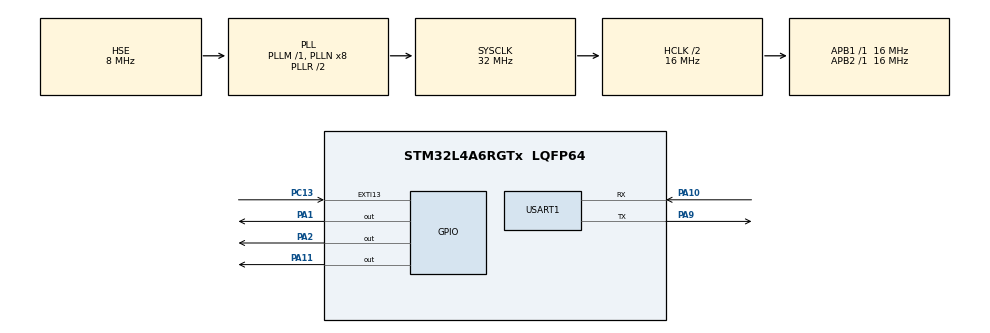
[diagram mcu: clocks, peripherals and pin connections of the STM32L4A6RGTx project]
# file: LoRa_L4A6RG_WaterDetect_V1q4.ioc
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PA11.GPIO_Speed=GPIO_SPEED_FREQ_HIGH
Mcu.Family=STM32L4
NVIC.FLASH_IRQn=true\:0\:0\:false\:false\:true\:true\:true
ADC1.LowPowerAutoWait=ENABLE
RCC.CortexFreq_Value=16000000
ADC1.ContinuousConvMode=DISABLE
PH0-OSC_IN\ (PH0).Signal=RCC_OSC_IN
PA10.GPIO_PuPd=GPIO_NOPULL
VP_IWDG_VS_IWDG.Mode=IWDG_Activate
VP_RTC_VS_RTC_Activate.Mode=RTC_Enabled
PA11.GPIO_PuPd=GPIO_PULLUP
RCC.SYSCLKSource=RCC_SYSCLKSOURCE_PLLCLK
ProjectManager.StackSize=0x400
SYS.Mode=PWR_PVD_MODE_IT_RISING_FALLING
ADC1.Channel-3\#ChannelRegularConversion=ADC_CHANNEL_VREFINT
RCC.HCLKFreq_Value=16000000
RCC.APB2TimFreq_Value=16000000
RCC.AHBFreq_Value=16000000
ADC1.Channel-0\#ChannelRegularConversion=ADC_CHANNEL_VBAT
PH1-OSC_OUT\ (PH1).Mode=HSE-External-Oscillator
RCC.HSE_VALUE=8000000
VP_ADC1_Vref_Input.Mode=IN-Vrefint
NVIC.TIM2_IRQn=true\:0\:0\:false\:false\:true\:true\:true
PC13.GPIO_PuPd=GPIO_NOPULL
ADC1.SamplingTime-0\#ChannelRegularConversion=ADC_SAMPLETIME_92CYCLES_5
Mcu.Package=LQFP64
TIM2.Prescaler=1600-1
ADC1.OversamplingMode=DISABLE
IWDG.Reload=4000
PA10.Signal=USART1_RX
VP_SYS_V_PVD_IN.Mode=Mode_PVD_Int
RCC.APB1TimFreq_Value=16000000
NVIC.USART1_IRQn=true\:0\:0\:true\:false\:true\:true\:true
PH0-OSC_IN\ (PH0).Mode=HSE-External-Oscillator
RCC.MSIClockRange=RCC_MSIRANGE_8
RCC.PLLSAI1R=RCC_PLLR_DIV8
RCC.HSI48_VALUE=48000000
RCC.MSI_VALUE=16000000
RCC.PLLSourceVirtual=RCC_PLLSOURCE_HSE
ADC1.Rank-0\#ChannelRegularConversion=1
SYS.PVDLevel=PWR_PVDLEVEL_0
PA10.Mode=Asynchronous
ADC1.OffsetNumber-0\#ChannelRegularConversion=ADC_OFFSET_NONE
PC13.Signal=GPXTI13
ADC1.OffsetNumber-3\#ChannelRegularConversion=ADC_OFFSET_NONE
ADC1.DiscontinuousConvMode=ENABLE
VP_ADC1_Vbat_Input.Mode=IN-Vbat
PA9.GPIO_PuPd=GPIO_NOPULL
PH1-OSC_OUT\ (PH1).Signal=RCC_OSC_OUT
USART1.VirtualMode-Asynchronous=VM_ASYNC
PA9.Mode=Asynchronous
ProjectManager.TargetToolchain=STM32CubeIDE
PA9.Signal=USART1_TX
RCC.USBFreq_Value=32000000
RCC.LSE_VALUE=32768
PA1.Signal=GPIO_Output
board=custom
RCC.VCOOutputFreq_Value=64000000
RCC.APB2Freq_Value=16000000
VP_TIM2_VS_ClockSourceINT.Mode=Internal
RCC.ADCFreq_Value=8000000
RCC.AHBCLKDivider=RCC_SYSCLK_DIV2
TIM2.Period=10-1
ADC1.NbrOfConversion=2
NVIC.PVD_PVM_IRQn=true\:0\:0\:false\:false\:true\:true\:true
Mcu.Name=STM32L4A6RGTx
PA2.Signal=GPIO_Output
RCC.SYSCLKFreq_VALUE=32000000
ADC1.master=1
ADC1.Rank-3\#ChannelRegularConversion=2
ADC1.SamplingTime-3\#ChannelRegularConversion=ADC_SAMPLETIME_24CYCLES_5
PC13.GPIO_ModeDefaultEXTI=GPIO_MODE_EVT_RISING
PA11.Signal=GPIO_Output
ProjectManager.HeapSize=0x200
RCC.HSI_VALUE=16000000
NVIC.PriorityGroup=NVIC_PRIORITYGROUP_4
ADC1.NbrOfConversionFlag=1
IWDG.Prescaler=IWDG_PRESCALER_64
PA11.PinState=GPIO_PIN_SET
RCC.APB1Freq_Value=16000000
VP_CRC_VS_CRC.Mode=CRC_Activate
ADC1.ClockPrescaler=ADC_CLOCK_ASYNC_DIV2

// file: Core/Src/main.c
/* USER CODE BEGIN Header */
/**
  ******************************************************************************
  * @file           : main.c
  * @brief          : Main program body
  ******************************************************************************
  * @attention
  *
  * <h2><center>&copy; Copyright (c) 2021 STMicroelectronics.
  * All rights reserved.</center></h2>
  *
  * This software component is licensed by ST under BSD 3-Clause license,
  * the "License"; You may not use this file except in compliance with the
  * License. You may obtain a copy of the License at:
  *                        opensource.org/licenses/BSD-3-Clause
  *
  ******************************************************************************
STM32L4A6 loRa water detection node
PCB: L4A6_WL_LoRa_V3
Version: V1.4
IWDG: 8s
Alarm: 10s
standby mode :6HR
  ******************************************************************************
Update Note:
20210629----V1.1:
Wake-up pin trigger from low level to High level.
IWDG reload delay 50ms at alarm mode.
20211015----V1.2:
main.c, stm32l4xx_it.c : Add EEPROM emulation function.
main.c, stm32l4xx_hal_msp.c : Add PVD function, <2.0V to always standby, delay 50ms enable PVD to wait power on.
main.c, LoRa_App_slave.c : Add low voltage monitor function, <2.8V alarm low battery, <2.5V to always standby.
20211015----V1.3:
Change HCLK to 16MHz, for improve Uart receive speed.
main.c, modify low voltage protection from <2.5V to <2.35V to always standby.
LoRa_App_slave.c, Update to V2.6.
 *Improve Tx receive 1st and 2nd response process, for first connect to UMC LoRa Gateway ADR messenger.
 *Add Voltage Heavy load detect.
20220401----V1.4:
main.c, When active ,PVD save Voltage valve to trigger standby mode after software reset.
main.c, When Voltage < 2.35V, add lora chip sleep function.
LoRa_App_slave.c, Update to V2.7.
 *Change Lora chip sleep time to 24hr,avid wake-up early than mcu standby time.
  ******************************************************************************
  */
/* USER CODE END Header */
#include "main.h"

ADC_HandleTypeDef hadc1;

IWDG_HandleTypeDef hiwdg;

RTC_HandleTypeDef hrtc;

TIM_HandleTypeDef htim2;

UART_HandleTypeDef huart1;

/* USER CODE BEGIN PV */
//TODO--Wayne20210528
PWRST_t PWRST;
USART_LoRa USARTLoRa;
ADC1_t ADC_1;
char NodeStatus;
//test
uint16_t SendAlarmCount;
uint16_t SendAlarmTMRCount;
//_Bool WaterDetectflag;
_Bool SendAlarmflag;
//TODO for IWDG Freeze By Standby Mode
FLASH_OBProgramInitTypeDef pOBInit;

//TODO:for CubeEEPROM
uint32_t Index = 1;
__IO uint32_t ErasingOnGoing = 0;
uint32_t a_VarDataTab[NB_OF_VARIABLES] = {0};
uint32_t VarValue = 0;
uint8_t itt, itt2, itt3;
/* USER CODE END PV */

void SystemClock_Config(void);
static void MX_GPIO_Init(void);
static void MX_ADC1_Init(void);
static void MX_USART1_UART_Init(void);
static void MX_IWDG_Init(void);
static void MX_RTC_Init(void);
static void MX_TIM2_Init(void);
static void MX_CRC_Init(void);
/* USER CODE BEGIN PFP */
////TODO:for CubeEEPROM--20211005 by Wayne
//static void Error_Handler(void);

/* USER CODE END PFP */

int main(void)
{
  /* USER CODE BEGIN 1 */
  //TODO: EEPROM by Wayne 20211005
  EE_Status ee_status = EE_OK;
  /* USER CODE END 1 */

  /* MCU Configuration--------------------------------------------------------*/

  /* Reset of all peripherals, Initializes the Flash interface and the Systick. */
  HAL_Init();

  /* Configure the system clock */
  SystemClock_Config();

  /* Initialize all configured peripherals */
  MX_GPIO_Init();
  MX_ADC1_Init();
  MX_USART1_UART_Init();
  MX_IWDG_Init();
  MX_RTC_Init();
  MX_TIM2_Init();
  MX_CRC_Init();
  /* USER CODE BEGIN 2 */
  //TODO: EEPROM by Wayne 20211005
   /* Unlock the Flash Program Erase controller */
   HAL_FLASH_Unlock();

 #if defined (STM32L4R5xx) || defined (STM32L4R7xx) || defined (STM32L4R9xx) || defined (STM32L4S5xx) || defined (STM32L4S7xx) || defined (STM32L4S9xx)
   /* Clear OPTVERR bit and PEMPTY flag if set*/
   if (__HAL_FLASH_GET_FLAG(FLASH_FLAG_OPTVERR) != RESET)
   {
     __HAL_FLASH_CLEAR_FLAG(FLASH_FLAG_OPTVERR);
   }

   if (__HAL_FLASH_GET_FLAG(FLASH_FLAG_PEMPTY) != RESET)
   {
     __HAL_FLASH_CLEAR_FLAG(FLASH_FLAG_PEMPTY);
   }
 #endif /* defined (STM32L4R5xx) || defined (STM32L4R7xx) || defined (STM32L4R9xx) || defined (STM32L4S5xx) || defined (STM32L4S7xx) || defined (STM32L4S9xx) */

 /* Set EEPROM emulation firmware to erase all potentially incompletely erased
      pages if the system came from an asynchronous reset. Conditional erase is
      safe to use if all Flash operations where completed before the system reset */
   //flag test
 //  uint8_t itt, itt2, itt3;
 //  itt=__HAL_PWR_GET_FLAG(PWR_FLAG_SB);
 //  itt2= __HAL_PWR_GET_FLAG(PWR_FLAG_WU);
 //  itt3=__HAL_RTC_WAKEUPTIMER_GET_IT_SOURCE (&hrtc, RTC_FLAG_WUTF);
 //  if(itt == RESET)
   if(__HAL_PWR_GET_FLAG(PWR_FLAG_SB) == RESET)
   {
     /* System reset comes from a power-on reset: Forced Erase */
     /* Initialize EEPROM emulation driver (mandatory) */
     ee_status = EE_Init(EE_FORCED_ERASE);
     if(ee_status != EE_OK) {Error_Handler();}
// 	  __NOP();
   }
   else
   {
 //    /* Clear the Standby flag */
 //    __HAL_PWR_CLEAR_FLAG(PWR_FLAG_SB);
 //
 //    /* Check and Clear the Wakeup flag */
 //    if (__HAL_PWR_GET_FLAG(PWR_FLAG_WUF) != RESET)
 //    {
 //      __HAL_PWR_CLEAR_FLAG(PWR_FLAG_WUF);
 //    }
     /* System reset comes from a STANDBY wakeup: Conditional Erase*/
     /* Initialize EEPROM emulation driver (mandatory) */
     ee_status = EE_Init(EE_CONDITIONAL_ERASE);
     if(ee_status != EE_OK) {Error_Handler();}

     /*EEPROM Read*/
     ee_status = EEPROM_Emu_read();
   }

//TODO--Wayne20210531
  RUN_PWR_Mode_Init(&hrtc);
  LoRa_status_init(&huart1);
  //TODO for IWDG Freeze By Standby Mode
  IWDGFreezeBySTDBY();

  /*
  setting Device power mode:
  PWRST.PowerMode =
  			 	 ---RunMode
  			 	 ---StandbyMode
  */
  PWRST.PowerMode =StandbyMode;
  NodeStatus = DataAcquire;
  HAL_TIM_Base_Start_IT(&htim2);

  /* USER CODE END 2 */

  /* Infinite loop */
  while (1)
  {

    /* USER CODE BEGIN 3 */
	switch(NodeStatus)
	  {
	  	case DataAcquire:
	  		//battery light loading voltage
	  		ADC1_Conv(&hadc1);
	  		ADC_1.BatVLightload=ADC_1.BatVTemp;
	  		//ADC LED status
	  		HAL_GPIO_WritePin(ADC_LED_Port, ADC_LED , GPIO_PIN_SET);
	  		HAL_Delay(10);
	  		HAL_GPIO_WritePin(ADC_LED_Port, ADC_LED , GPIO_PIN_RESET);
	  		//battery minimum Voltage
	  		if(ADC_1.BatVHeavyload!=0)
	  			ADC_1.BatV=min(ADC_1.BatVLightload, ADC_1.BatVHeavyload);
	  		else
	  			ADC_1.BatV=ADC_1.BatVLightload;

            //Battery BatVHeavyload Voltage > 3V, send BatVLightload battery Voltage
	  		if(ADC_1.BatV > 3)
	  		{
	  		   ADC_1.BatStatus = 0;
	  		   ADC_1.BatV=ADC_1.BatVLightload;

	  		}

	  		//Battery Voltage < 2.8V send low battery alarm
	  		if(ADC_1.BatV >= 2.8)
	  			ADC_1.BatStatus = 0;
	  	    else
	  	    	ADC_1.BatStatus = 1;

	  		//Battery Voltage < 2.35V MCU always standby
	  		if(ADC_1.BatV < 2.35)
	  		{
	  			//TODO:Lora chip enter sleep
	  			USARTLoRa.Status=EnterSleepMode;
	  			LoRa_USART(&huart1, &hiwdg, &hadc1);

	  			/* Wait for any cleanup to complete before entering standby/shutdown mode */
	  			while (ErasingOnGoing == 1) { }

	  			/* Request to enter STANDBY mode  */
	  			HAL_PWR_EnterSTANDBYMode();
	  		}
	  		//detect wake-up pin for sensor status
	  		if(HAL_GPIO_ReadPin(WKUP_GPIO_Port, WKUP_Pin) == GPIO_PIN_SET) //high level by water detected
	  		{
	  			NodeStatus = TransmitWithAlarm;
	  			SendAlarmCount++;
	  		}
	  		else//High level by water not detected
	  		{
	  			NodeStatus = TransmitWithPWRST;
	  			SendAlarmCount = 0;
	  		}
	  			break;

	  	case TransmitWithPWRST:
	  		if(PWRST.PowerMode == StandbyMode)
			{
    			//TODO:Lora send data
	  			LoRa_USART(&huart1, &hiwdg, &hadc1);

    			//IWDG_Refresh
    			HAL_IWDG_Refresh(&hiwdg);

    			//TODO: Write EEPROM 20211005 by Wayne
				ee_status = EEPROM_Emu_write();

    			//TODO:MCU Standby Entry
    			EnterStandbyPWR_Mode(&hrtc);

    			/* This code should never go beyond this point. Reset on Standby wakeup */
    			Error_Handler();
    		}

    		else
    		{
    			USARTLoRa.ResStatus = LoRa_OK;
    			//TODO:Lora send data
    			LoRa_USART(&huart1, &hiwdg, &hadc1);

    			//TODO: Write EEPROM 20211005 by Wayne
				ee_status = EEPROM_Emu_write();

    			//IWDG_Refresh
    			HAL_IWDG_Refresh(&hiwdg);

    			NodeStatus = DataAcquire;

    		}
	  		  break;

	  	case TransmitWithAlarm:
	  		if(SendAlarmflag == true)
	  		{
	  			//IWDG_Refresh
	  			HAL_IWDG_Refresh(&hiwdg);

				USARTLoRa.ResStatus = LoRa_OK;
				//TODO:Lora send data
				LoRa_USART(&huart1, &hiwdg, &hadc1);

				//TODO: Write EEPROM 20211005 by Wayne
				ee_status = EEPROM_Emu_write();

				SendAlarmflag= false;

				NodeStatus = DataAcquire;

				//detect wake-up pin for sensor status
				if(HAL_GPIO_ReadPin(WKUP_GPIO_Port, WKUP_Pin) == GPIO_PIN_RESET) //low level by water no detected
				{
					SendAlarmCount = 0;
					//IWDG_Refresh
					HAL_IWDG_Refresh(&hiwdg);

					HAL_Delay(50);

					USARTLoRa.ResStatus = LoRa_OK;
					//TODO:Lora send data
					LoRa_USART(&huart1, &hiwdg, &hadc1);

					//TODO: Write EEPROM 20211005 by Wayne
					ee_status = EEPROM_Emu_write();

					//TODO:MCU Standby Entry
					EnterAlarmStnadby_Mode(&hrtc);
				}

	  		}
	  		else
	  		{
	  			HAL_Delay(50);
	  			//IWDG_Refresh
	  			HAL_IWDG_Refresh(&hiwdg);
	  		}
	  		break;
	  }
  }
  /* USER CODE END 3 */
}

void SystemClock_Config(void)
{
  RCC_OscInitTypeDef RCC_OscInitStruct = {0};
  RCC_ClkInitTypeDef RCC_ClkInitStruct = {0};
  RCC_PeriphCLKInitTypeDef PeriphClkInit = {0};

  /** Initializes the RCC Oscillators according to the specified parameters
  * in the RCC_OscInitTypeDef structure.
  */
  RCC_OscInitStruct.OscillatorType = RCC_OSCILLATORTYPE_LSI|RCC_OSCILLATORTYPE_HSE;
  RCC_OscInitStruct.HSEState = RCC_HSE_ON;
  RCC_OscInitStruct.LSIState = RCC_LSI_ON;
  RCC_OscInitStruct.PLL.PLLState = RCC_PLL_ON;
  RCC_OscInitStruct.PLL.PLLSource = RCC_PLLSOURCE_HSE;
  RCC_OscInitStruct.PLL.PLLM = 1;
  RCC_OscInitStruct.PLL.PLLN = 8;
  RCC_OscInitStruct.PLL.PLLP = RCC_PLLP_DIV2;
  RCC_OscInitStruct.PLL.PLLQ = RCC_PLLQ_DIV2;
  RCC_OscInitStruct.PLL.PLLR = RCC_PLLR_DIV2;
  if (HAL_RCC_OscConfig(&RCC_OscInitStruct) != HAL_OK)
  {
    Error_Handler();
  }
  /** Initializes the CPU, AHB and APB buses clocks
  */
  RCC_ClkInitStruct.ClockType = RCC_CLOCKTYPE_HCLK|RCC_CLOCKTYPE_SYSCLK
                              |RCC_CLOCKTYPE_PCLK1|RCC_CLOCKTYPE_PCLK2;
  RCC_ClkInitStruct.SYSCLKSource = RCC_SYSCLKSOURCE_PLLCLK;
  RCC_ClkInitStruct.AHBCLKDivider = RCC_SYSCLK_DIV2;
  RCC_ClkInitStruct.APB1CLKDivider = RCC_HCLK_DIV1;
  RCC_ClkInitStruct.APB2CLKDivider = RCC_HCLK_DIV1;

  if (HAL_RCC_ClockConfig(&RCC_ClkInitStruct, FLASH_LATENCY_0) != HAL_OK)
  {
    Error_Handler();
  }
  PeriphClkInit.PeriphClockSelection = RCC_PERIPHCLK_RTC|RCC_PERIPHCLK_USART1
                              |RCC_PERIPHCLK_ADC;
  PeriphClkInit.Usart1ClockSelection = RCC_USART1CLKSOURCE_PCLK2;
  PeriphClkInit.AdcClockSelection = RCC_ADCCLKSOURCE_PLLSAI1;
  PeriphClkInit.RTCClockSelection = RCC_RTCCLKSOURCE_LSI;
  PeriphClkInit.PLLSAI1.PLLSAI1Source = RCC_PLLSOURCE_HSE;
  PeriphClkInit.PLLSAI1.PLLSAI1M = 1;
  PeriphClkInit.PLLSAI1.PLLSAI1N = 8;
  PeriphClkInit.PLLSAI1.PLLSAI1P = RCC_PLLP_DIV2;
  PeriphClkInit.PLLSAI1.PLLSAI1Q = RCC_PLLQ_DIV2;
  PeriphClkInit.PLLSAI1.PLLSAI1R = RCC_PLLR_DIV8;
  PeriphClkInit.PLLSAI1.PLLSAI1ClockOut = RCC_PLLSAI1_ADC1CLK;
  if (HAL_RCCEx_PeriphCLKConfig(&PeriphClkInit) != HAL_OK)
  {
    Error_Handler();
  }
  /** Configure the main internal regulator output voltage
  */
  if (HAL_PWREx_ControlVoltageScaling(PWR_REGULATOR_VOLTAGE_SCALE1) != HAL_OK)
  {
    Error_Handler();
  }
}

static void MX_ADC1_Init(void)
{

  ADC_MultiModeTypeDef multimode = {0};
  ADC_ChannelConfTypeDef sConfig = {0};

  /** Common config
  */
  hadc1.Instance = ADC1;
  hadc1.Init.ClockPrescaler = ADC_CLOCK_ASYNC_DIV2;
  hadc1.Init.Resolution = ADC_RESOLUTION_12B;
  hadc1.Init.DataAlign = ADC_DATAALIGN_RIGHT;
  hadc1.Init.ScanConvMode = ADC_SCAN_ENABLE;
  hadc1.Init.EOCSelection = ADC_EOC_SINGLE_CONV;
  hadc1.Init.LowPowerAutoWait = ENABLE;
  hadc1.Init.ContinuousConvMode = DISABLE;
  hadc1.Init.NbrOfConversion = 2;
  hadc1.Init.DiscontinuousConvMode = ENABLE;
  hadc1.Init.NbrOfDiscConversion = 1;
  hadc1.Init.ExternalTrigConv = ADC_SOFTWARE_START;
  hadc1.Init.ExternalTrigConvEdge = ADC_EXTERNALTRIGCONVEDGE_NONE;
  hadc1.Init.DMAContinuousRequests = DISABLE;
  hadc1.Init.Overrun = ADC_OVR_DATA_PRESERVED;
  hadc1.Init.OversamplingMode = DISABLE;
  if (HAL_ADC_Init(&hadc1) != HAL_OK)
  {
    Error_Handler();
  }
  /** Configure the ADC multi-mode
  */
  multimode.Mode = ADC_MODE_INDEPENDENT;
  if (HAL_ADCEx_MultiModeConfigChannel(&hadc1, &multimode) != HAL_OK)
  {
    Error_Handler();
  }
  /** Configure Regular Channel
  */
  sConfig.Channel = ADC_CHANNEL_VBAT;
  sConfig.Rank = ADC_REGULAR_RANK_1;
  sConfig.SamplingTime = ADC_SAMPLETIME_92CYCLES_5;
  sConfig.SingleDiff = ADC_SINGLE_ENDED;
  sConfig.OffsetNumber = ADC_OFFSET_NONE;
  sConfig.Offset = 0;
  if (HAL_ADC_ConfigChannel(&hadc1, &sConfig) != HAL_OK)
  {
    Error_Handler();
  }
  /** Configure Regular Channel
  */
  sConfig.Channel = ADC_CHANNEL_VREFINT;
  sConfig.Rank = ADC_REGULAR_RANK_2;
  sConfig.SamplingTime = ADC_SAMPLETIME_24CYCLES_5;
  if (HAL_ADC_ConfigChannel(&hadc1, &sConfig) != HAL_OK)
  {
    Error_Handler();
  }

}

static void MX_CRC_Init(void)
{

  /* Peripheral clock enable */
  LL_AHB1_GRP1_EnableClock(LL_AHB1_GRP1_PERIPH_CRC);

  LL_CRC_SetInputDataReverseMode(CRC, LL_CRC_INDATA_REVERSE_NONE);
  LL_CRC_SetOutputDataReverseMode(CRC, LL_CRC_OUTDATA_REVERSE_NONE);
  LL_CRC_SetPolynomialCoef(CRC, LL_CRC_DEFAULT_CRC32_POLY);
  LL_CRC_SetPolynomialSize(CRC, LL_CRC_POLYLENGTH_32B);
  LL_CRC_SetInitialData(CRC, LL_CRC_DEFAULT_CRC_INITVALUE);

}

static void MX_IWDG_Init(void)
{

  hiwdg.Instance = IWDG;
  hiwdg.Init.Prescaler = IWDG_PRESCALER_64;
  hiwdg.Init.Window = 4095;
  hiwdg.Init.Reload = 4000;
  if (HAL_IWDG_Init(&hiwdg) != HAL_OK)
  {
    Error_Handler();
  }

}

static void MX_RTC_Init(void)
{

  /** Initialize RTC Only
  */
  hrtc.Instance = RTC;
  hrtc.Init.HourFormat = RTC_HOURFORMAT_24;
  hrtc.Init.AsynchPrediv = 127;
  hrtc.Init.SynchPrediv = 255;
  hrtc.Init.OutPut = RTC_OUTPUT_DISABLE;
  hrtc.Init.OutPutRemap = RTC_OUTPUT_REMAP_NONE;
  hrtc.Init.OutPutPolarity = RTC_OUTPUT_POLARITY_HIGH;
  hrtc.Init.OutPutType = RTC_OUTPUT_TYPE_OPENDRAIN;
  if (HAL_RTC_Init(&hrtc) != HAL_OK)
  {
    Error_Handler();
  }

}

static void MX_TIM2_Init(void)
{

  TIM_ClockConfigTypeDef sClockSourceConfig = {0};
  TIM_MasterConfigTypeDef sMasterConfig = {0};

  htim2.Instance = TIM2;
  htim2.Init.Prescaler = 1600-1;
  htim2.Init.CounterMode = TIM_COUNTERMODE_UP;
  htim2.Init.Period = 10-1;
  htim2.Init.ClockDivision = TIM_CLOCKDIVISION_DIV1;
  htim2.Init.AutoReloadPreload = TIM_AUTORELOAD_PRELOAD_DISABLE;
  if (HAL_TIM_Base_Init(&htim2) != HAL_OK)
  {
    Error_Handler();
  }
  sClockSourceConfig.ClockSource = TIM_CLOCKSOURCE_INTERNAL;
  if (HAL_TIM_ConfigClockSource(&htim2, &sClockSourceConfig) != HAL_OK)
  {
    Error_Handler();
  }
  sMasterConfig.MasterOutputTrigger = TIM_TRGO_RESET;
  sMasterConfig.MasterSlaveMode = TIM_MASTERSLAVEMODE_DISABLE;
  if (HAL_TIMEx_MasterConfigSynchronization(&htim2, &sMasterConfig) != HAL_OK)
  {
    Error_Handler();
  }

}

static void MX_USART1_UART_Init(void)
{

  huart1.Instance = USART1;
  huart1.Init.BaudRate = 115200;
  huart1.Init.WordLength = UART_WORDLENGTH_8B;
  huart1.Init.StopBits = UART_STOPBITS_1;
  huart1.Init.Parity = UART_PARITY_NONE;
  huart1.Init.Mode = UART_MODE_TX_RX;
  huart1.Init.HwFlowCtl = UART_HWCONTROL_NONE;
  huart1.Init.OverSampling = UART_OVERSAMPLING_16;
  huart1.Init.OneBitSampling = UART_ONE_BIT_SAMPLE_DISABLE;
  huart1.AdvancedInit.AdvFeatureInit = UART_ADVFEATURE_NO_INIT;
  if (HAL_UART_Init(&huart1) != HAL_OK)
  {
    Error_Handler();
  }

}

static void MX_GPIO_Init(void)
{
  GPIO_InitTypeDef GPIO_InitStruct = {0};

  /* GPIO Ports Clock Enable */
  __HAL_RCC_GPIOC_CLK_ENABLE();
  __HAL_RCC_GPIOH_CLK_ENABLE();
  __HAL_RCC_GPIOA_CLK_ENABLE();

  /*Configure GPIO pin Output Level */
  HAL_GPIO_WritePin(GPIOA, GPIO_PIN_1|GPIO_PIN_2, GPIO_PIN_RESET);

  /*Configure GPIO pin Output Level */
  HAL_GPIO_WritePin(GPIOA, GPIO_PIN_11, GPIO_PIN_SET);

  /*Configure GPIO pin : PC13 */
  GPIO_InitStruct.Pin = GPIO_PIN_13;
  GPIO_InitStruct.Mode = GPIO_MODE_EVT_RISING;
  GPIO_InitStruct.Pull = GPIO_NOPULL;
  HAL_GPIO_Init(GPIOC, &GPIO_InitStruct);

  /*Configure GPIO pins : PA1 PA2 */
  GPIO_InitStruct.Pin = GPIO_PIN_1|GPIO_PIN_2;
  GPIO_InitStruct.Mode = GPIO_MODE_OUTPUT_PP;
  GPIO_InitStruct.Pull = GPIO_NOPULL;
  GPIO_InitStruct.Speed = GPIO_SPEED_FREQ_LOW;
  HAL_GPIO_Init(GPIOA, &GPIO_InitStruct);

  /*Configure GPIO pin : PA11 */
  GPIO_InitStruct.Pin = GPIO_PIN_11;
  GPIO_InitStruct.Mode = GPIO_MODE_OUTPUT_PP;
  GPIO_InitStruct.Pull = GPIO_PULLUP;
  GPIO_InitStruct.Speed = GPIO_SPEED_FREQ_HIGH;
  HAL_GPIO_Init(GPIOA, &GPIO_InitStruct);

}

/* USER CODE BEGIN 4 */
//TODO-Wayne20210528
void HAL_UART_RxCpltCallback(UART_HandleTypeDef *huart)
{
  /* Prevent unused argument(s) compilation warning */
  UNUSED(huart1);
//UNUSED(&lphuart1);

  /* NOTE : This function should not be modified, when the callback is needed,
            the HAL_UART_RxCpltCallback can be implemented in the user file
   */

  USARTLoRa.RevStrCount++; //all string receive count
  if(USARTLoRa.Rbuffer==0x0A)//when receive 0x0a("\n" Line feeds string),it is a effective command
  {
	   USARTLoRa.RevStrEndCount++;//0x0a("\n" Line feeds string) count
	  if( USARTLoRa.RevStrEndCount==1	&&	USARTLoRa.RevStrCount > 5)
		  USARTLoRa.ResetRevflag = 1;
  }

  if(!USARTLoRa.ResetRevflag)//if LoRa not receive reset message
  {
  	  USARTLoRa.RevData[USARTLoRa.RxCount++]= USARTLoRa.Rbuffer;
  	  if(USARTLoRa.RevData[0]!=0x0A)
  	  {
		USARTLoRa.RxCount= 0;
//		USARTLoRa.RevData[0]=0x0A;
  	  }
  	  if(USARTLoRa.RevStrEndCount == 2)
  	  {
  		  USARTLoRa.Revflag = 1;
  		  USARTLoRa.RxCount= 0;
  		  USARTLoRa.RevStrEndCount = 0;
  		  USARTLoRa.RevStrCount = 0;
//  		  int8_t c;
//  		  char RxHead_Check[] = "\n\r>> mac rx";
//  		  for(c=0;c<=10;c++)
//  		  {
//  			USARTLoRa.RxHead[c]=USARTLoRa.RevData[c];
//  		  }
//  		  if(strcmp(USARTLoRa.RxHead, RxHead_Check ) == 0)
//  			USARTLoRa.LoRaRxflag = 1;
  	  }
    }
    else//reset message receive
    {
    	if(USARTLoRa.RevStrEndCount > 6)
    	{
    		USARTLoRa.RevData[USARTLoRa.RxCount++]= USARTLoRa.Rbuffer;
    		if(USARTLoRa.RevStrEndCount == 9)
    		{
    			USARTLoRa.Revflag = 1;
    			USARTLoRa.RxCount= 0;
    			USARTLoRa.RevStrEndCount = 0;
    			USARTLoRa.RevStrCount = 0;
    		}
    	}

    }

  if(USARTLoRa.RxCount>=70)//if don't receive "\n" Line feeds string full over to 64 byte, clear data
  {
	  USARTLoRa.RxCount=0;
  	  memset( USARTLoRa.RevData, 0, strlen((const char*)USARTLoRa.RevData) ); //clear Receive data
  }
  while(HAL_UART_Receive_IT(&huart1,&USARTLoRa.Rbuffer,1)!=HAL_OK);
//  while(HAL_UART_Receive_IT(&lphuart1,&USARTLoRa.Rbuffer,1)!=HAL_OK);
}

//TODO for IWDG Freeze By Standby Mode
void IWDGFreezeBySTDBY(void)
{

	 HAL_FLASH_Unlock();

	 __HAL_FLASH_CLEAR_FLAG(FLASH_FLAG_OPTVERR); //clear FLASH Option validity error flag

	 HAL_FLASH_OB_Unlock();

	 HAL_FLASHEx_OBGetConfig(&pOBInit); //Get Option bit setting

	 //setup IWDG Freeze in standby mode
	 pOBInit.OptionType = OPTIONBYTE_USER;

	 pOBInit.USERType = OB_USER_IWDG_STDBY;

	 pOBInit.USERConfig = OB_IWDG_STDBY_FREEZE;

	 HAL_FLASHEx_OBProgram(&pOBInit);

	 HAL_FLASH_OB_Lock();

	 HAL_FLASH_Lock();
}

/**
  * @brief  Period elapsed callback in non blocking mode
  * @param  htim: TIM handle
  * @retval None
  */
void HAL_TIM_PeriodElapsedCallback(TIM_HandleTypeDef *htim)
{
    if (htim->Instance == htim2.Instance)//timer2 interrupt per 1ms for trigger
    {
    	if(USARTLoRa.CrashTimerflag == 1)
    		USARTLoRa.CrashTimerCount++;
        if(USARTLoRa.TxRevTimerflag == 1)
    	    USARTLoRa.TxRevTimerCount++;
    	//Water detect timer
    	if(NodeStatus == TransmitWithAlarm)
    	{
    		SendAlarmTMRCount++;
    		if(SendAlarmTMRCount == 10000)//per 10s for trigger
    		{
        		SendAlarmflag = true ;
        		SendAlarmTMRCount = 0;
    		}
    	}

    }
}

/**
  * @brief PWR PVD interrupt callback
  * @retval None
  */

void HAL_PWR_PVDCallback(void)
{

	__NOP();
	//IWDG_Refresh
	HAL_IWDG_Refresh(&hiwdg);

	/* Request LoRa chip to enter Sleep mode  */
	//Hardware Reset
	HAL_GPIO_WritePin(RstPinGroup, RstPin, GPIO_PIN_RESET);
	HAL_GPIO_WritePin(RstPinGroup, RstPin, GPIO_PIN_SET);
	//IWDG_Refresh
//	HAL_IWDG_Refresh(&hiwdg);
	uint32_t Nopi;
	for(Nopi=0;Nopi<4000000;Nopi++)
		__NOP();
	LoRaCommand(&huart1, Sleep24h);

    //PVD active, voltage <2V, set Heavyload = 2V to trigger sleep after reset.
	ADC_1.BatVHeavyload = 2;
	//TODO: Write EEPROM 20211005 by Wayne
	EE_Status ee_status;
	ee_status = EEPROM_Emu_write();

	/* Wait for any cleanup to complete before entering standby/shutdown mode */
	while (ErasingOnGoing == 1) { }

	/* Request to enter STANDBY mode  */
	HAL_PWR_EnterSTANDBYMode();
 }

/**
  * @brief  FLASH end of operation interrupt callback.
  * @param  ReturnValue: The value saved in this parameter depends on the ongoing procedure
  *                  Mass Erase: Bank number which has been requested to erase
  *                  Page Erase: Page which has been erased
  *                    (if 0xFFFFFFFF, it means that all the selected pages have been erased)
  *                  Program: Address which was selected for data program
  * @retval None
  */
void HAL_FLASH_EndOfOperationCallback(uint32_t ReturnValue)
{
  /* Call CleanUp callback when all requested pages have been erased */
  if (ReturnValue == 0xFFFFFFFF)
  {
    EE_EndOfCleanup_UserCallback();
  }
}

/**
  * @brief  Clean Up end of operation interrupt callback.
  * @param  None
  * @retval None
  */
void EE_EndOfCleanup_UserCallback(void)
{
  ErasingOnGoing = 0;
}

//TODO for EEPROM emulation Read
EE_Status EEPROM_Emu_read(void)
{
	EE_Status ee_status;
	/* Read all the variables */
     for (Index = 1; Index < NB_OF_VARIABLES+1; Index++)
     {
       ee_status = EE_ReadVariable32bits(Index, &VarValue);
       switch(Index)
       {
       	case 1:
       		ADC_1.BatVHeavyload = (float)VarValue/100;
       		break;

       }
 //    if (VarValue != a_VarDataTab[Index-1]) {Error_Handler();}
     if (ee_status != EE_OK) {Error_Handler();}
// 	  __NOP();
	return ee_status;
     }
}

//TODO for EEPROM emulation Write
EE_Status EEPROM_Emu_write(void)
{
	EE_Status ee_status;
	/* Unlock the Flash Program Erase controller */
    HAL_FLASH_Unlock();
    /* Store values of all variables in EEPROM, ascending order */
    for (Index = 1; Index < NB_OF_VARIABLES+1; Index++)
    {
    	/* Wait any cleanup is completed before accessing flash again */
    	while (ErasingOnGoing == 1) { }

		switch(Index)
		{
			case 1:
//				VarValue = 1.22233*100;
				VarValue = ADC_1.BatVHeavyload*100;
			break;
		}
		ee_status = EE_WriteVariable32bits(Index, VarValue);
		ee_status|= EE_ReadVariable32bits(Index, &a_VarDataTab[Index-1]);
    	if (VarValue != a_VarDataTab[Index-1]) {Error_Handler();}

    	/* Start cleanup IT mode, if cleanup is needed */
    	if ((ee_status & EE_STATUSMASK_CLEANUP) == EE_STATUSMASK_CLEANUP) {ErasingOnGoing = 1;ee_status|= EE_CleanUp_IT();}
    	if ((ee_status & EE_STATUSMASK_ERROR) == EE_STATUSMASK_ERROR) {Error_Handler();}
    }

    /* Lock the Flash Program Erase controller */
    HAL_FLASH_Lock();
    /* Wait for any cleanup to complete before entering standby/shutdown mode */
    while (ErasingOnGoing == 1) { }
    return ee_status;

}

/* USER CODE END 4 */

void Error_Handler(void)
{
  __disable_irq();
  while (1)
  {
  }
}

/************************ (C) COPYRIGHT STMicroelectronics *****END OF FILE****/
